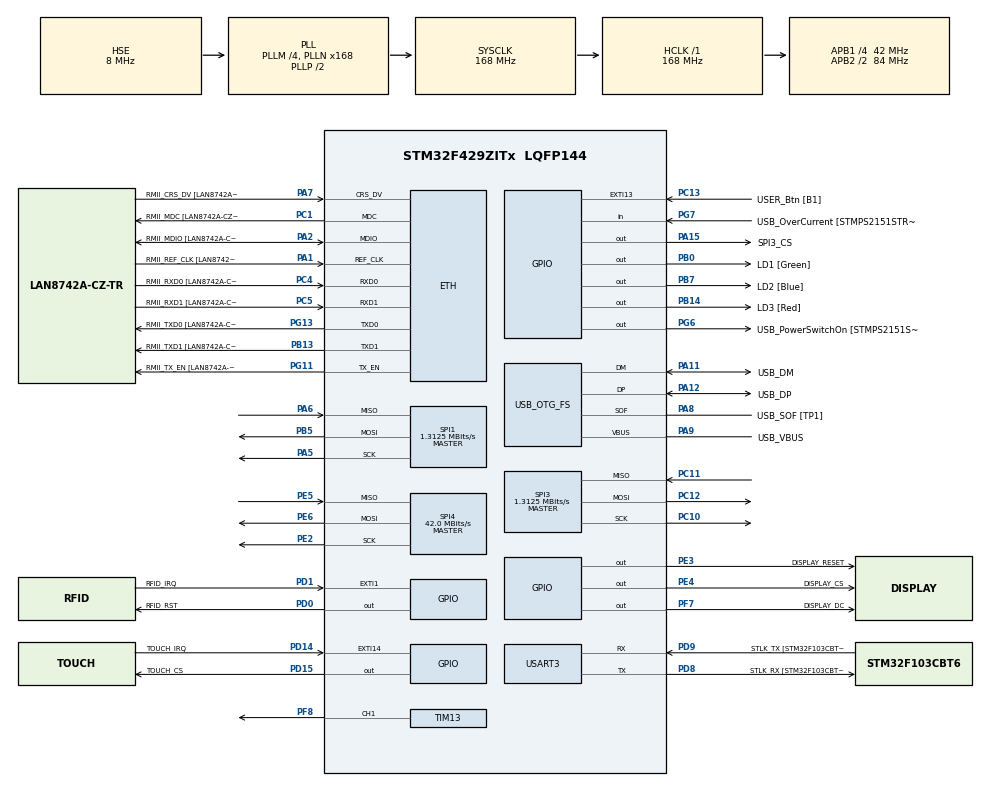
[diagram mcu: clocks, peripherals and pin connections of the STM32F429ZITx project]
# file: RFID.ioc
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DMA2D.ColorMode=DMA2D_OUTPUT_RGB888
Dma.Request0=SPI4_TX
Dma.SPI4_TX.0.Direction=DMA_MEMORY_TO_PERIPH
Dma.SPI4_TX.0.FIFOMode=DMA_FIFOMODE_DISABLE
Dma.SPI4_TX.0.Instance=DMA2_Stream1
Dma.SPI4_TX.0.MemDataAlignment=DMA_MDATAALIGN_BYTE
Dma.SPI4_TX.0.MemInc=DMA_MINC_ENABLE
Dma.SPI4_TX.0.Mode=DMA_NORMAL
Dma.SPI4_TX.0.PeriphDataAlignment=DMA_PDATAALIGN_BYTE
Dma.SPI4_TX.0.PeriphInc=DMA_PINC_DISABLE
Dma.SPI4_TX.0.Priority=DMA_PRIORITY_LOW
ETH.MediaInterface=HAL_ETH_RMII_MODE
ETH.PHY_Name=LAN8742A_PHY_ADDRESS
ETH.PHY_Value=0
ETH.PhyAddress=0
FATFS._MAX_LFN=32
FATFS._USE_FIND=1
FATFS._USE_LFN=2
FREERTOS.Tasks01=defaultTask,0,256,StartDefaultTask,Default,NULL,Static,defaultTaskBuffer,defaultTaskControlBlock
FREERTOS.configTOTAL_HEAP_SIZE=49152
FREERTOS.configUSE_NEWLIB_REENTRANT=1
Mcu.Family=STM32F4
Mcu.Name=STM32F429ZITx
Mcu.Package=LQFP144
NVIC.DMA2_Stream1_IRQn=true\:5\:0\:false\:false\:true\:true\:false\:true\:true
NVIC.EXTI15_10_IRQn=true\:5\:0\:false\:false\:true\:true\:true\:true\:true
NVIC.OTG_FS_IRQn=true\:5\:0\:false\:false\:true\:true\:false\:true\:true
NVIC.PriorityGroup=NVIC_PRIORITYGROUP_4
NVIC.SPI4_IRQn=true\:5\:0\:false\:false\:true\:true\:true\:true\:true
NVIC.TIM6_DAC_IRQn=true\:15\:0\:false\:false\:true\:false\:false\:true\:true
NVIC.TimeBase=TIM6_DAC_IRQn
NVIC.TimeBaseIP=TIM6
PA1.GPIO_Label=RMII_REF_CLK [LAN8742A-CZ-TR_REFCLK0]
PA1.Mode=RMII
PA1.Signal=ETH_REF_CLK
PA10.GPIO_Label=USB_ID
PA10.Signal=USB_OTG_FS_ID
PA11.GPIO_Label=USB_DM
PA11.Mode=Host_Only
PA11.Signal=USB_OTG_FS_DM
PA12.GPIO_Label=USB_DP
PA12.Mode=Host_Only
PA12.Signal=USB_OTG_FS_DP
PA13.GPIO_Label=TMS
PA13.Mode=Serial_Wire
PA13.Signal=SYS_JTMS-SWDIO
PA14.GPIO_Label=TCK
PA14.Mode=Serial_Wire
PA14.Signal=SYS_JTCK-SWCLK
PA15.GPIO_Label=SPI3_CS
PA15.Signal=GPIO_Output
PA2.GPIO_Label=RMII_MDIO [LAN8742A-CZ-TR_MDIO]
PA2.Mode=RMII
PA2.Signal=ETH_MDIO
PA5.Mode=Full_Duplex_Master
PA5.Signal=SPI1_SCK
PA6.Mode=Full_Duplex_Master
PA6.Signal=SPI1_MISO
PA7.GPIO_Label=RMII_CRS_DV [LAN8742A-CZ-TR_CRS_DV]
PA7.Mode=RMII
PA7.Signal=ETH_CRS_DV
PA8.GPIO_Label=USB_SOF [TP1]
PA8.Mode=Activate_SOF_FS
PA8.Signal=USB_OTG_FS_SOF
PA9.GPIO_Label=USB_VBUS
PA9.Mode=Activate_VBUS
PA9.Signal=USB_OTG_FS_VBUS
PB0.GPIO_Label=LD1 [Green]
PB0.Signal=GPIO_Output
PB13.GPIO_Label=RMII_TXD1 [LAN8742A-CZ-TR_TXD1]
PB13.Mode=RMII
PB13.Signal=ETH_TXD1
PB14.GPIO_Label=LD3 [Red]
PB14.Signal=GPIO_Output
PB5.Mode=Full_Duplex_Master
PB5.Signal=SPI1_MOSI
PB7.GPIO_Label=LD2 [Blue]
PB7.Signal=GPIO_Output
PC1.GPIO_Label=RMII_MDC [LAN8742A-CZ-TR_MDC]
PC1.Mode=RMII
PC1.Signal=ETH_MDC
PC10.Mode=Full_Duplex_Master
PC10.Signal=SPI3_SCK
PC11.Mode=Full_Duplex_Master
PC11.Signal=SPI3_MISO
PC12.Mode=Full_Duplex_Master
PC12.Signal=SPI3_MOSI
PC13.GPIO_Label=USER_Btn [B1]
PC13.Signal=GPXTI13
PC14/OSC32_IN.Mode=LSE-External-Oscillator
PC14/OSC32_IN.Signal=RCC_OSC32_IN
PC15/OSC32_OUT.Mode=LSE-External-Oscillator
PC15/OSC32_OUT.Signal=RCC_OSC32_OUT
PC4.GPIO_Label=RMII_RXD0 [LAN8742A-CZ-TR_RXD0]
PC4.Mode=RMII
PC4.Signal=ETH_RXD0
PC5.GPIO_Label=RMII_RXD1 [LAN8742A-CZ-TR_RXD1]
PC5.Mode=RMII
PC5.Signal=ETH_RXD1
PD0.GPIO_Label=RFID_RST
PD0.PinState=GPIO_PIN_SET
PD0.Signal=GPIO_Output
PD1.GPIO_Label=RFID_IRQ
PD1.GPIO_ModeDefaultEXTI=GPIO_MODE_IT_FALLING
PD1.GPIO_PuPd=GPIO_PULLUP
PD1.Signal=GPXTI1
PD14.GPIO_Label=TOUCH_IRQ
PD14.GPIO_ModeDefaultEXTI=GPIO_MODE_IT_FALLING
PD14.Signal=GPXTI14
PD15.GPIO_Label=TOUCH_CS
PD15.PinState=GPIO_PIN_SET
PD15.Signal=GPIO_Output
PD8.GPIO_Label=STLK_RX [STM32F103CBT6_PA3]
PD8.Mode=Asynchronous
PD8.Signal=USART3_TX
PD9.GPIO_Label=STLK_TX [STM32F103CBT6_PA2]
PD9.Mode=Asynchronous
PD9.Signal=USART3_RX
PE2.Mode=Full_Duplex_Master
PE2.Signal=SPI4_SCK
PE3.GPIO_Label=DISPLAY_RESET
PE3.GPIO_Speed=GPIO_SPEED_FREQ_MEDIUM
PE3.PinState=GPIO_PIN_SET
PE3.Signal=GPIO_Output
PE4.GPIO_Label=DISPLAY_CS
PE4.GPIO_Speed=GPIO_SPEED_FREQ_MEDIUM
PE4.PinState=GPIO_PIN_SET
PE4.Signal=GPIO_Output
PE5.Mode=Full_Duplex_Master
PE5.Signal=SPI4_MISO
PE6.Mode=Full_Duplex_Master
PE6.Signal=SPI4_MOSI
PF7.GPIO_Label=DISPLAY_DC
PF7.GPIO_Speed=GPIO_SPEED_FREQ_MEDIUM
PF7.PinState=GPIO_PIN_SET
PF7.Signal=GPIO_Output
PF8.Signal=S_TIM13_CH1
PG11.GPIO_Label=RMII_TX_EN [LAN8742A-CZ-TR_TXEN]
PG11.Mode=RMII
PG11.Signal=ETH_TX_EN
PG13.GPIO_Label=RMII_TXD0 [LAN8742A-CZ-TR_TXD0]
PG13.Mode=RMII
PG13.Signal=ETH_TXD0
PG6.GPIO_Label=USB_PowerSwitchOn [STMPS2151STR_EN]
PG6.Signal=GPIO_Output
PG7.GPIO_Label=USB_OverCurrent [STMPS2151STR_FAULT]
PG7.Signal=GPIO_Input
PH0/OSC_IN.GPIO_Label=MCO [STM32F103CBT6_PA8]
PH0/OSC_IN.Mode=HSE-External-Clock-Source
PH0/OSC_IN.Signal=RCC_OSC_IN
PH1/OSC_OUT.Mode=HSE-External-Clock-Source
PH1/OSC_OUT.Signal=RCC_OSC_OUT
ProjectManager.HeapSize=0x200
ProjectManager.StackSize=0x400
ProjectManager.TargetToolchain=STM32CubeIDE
RCC.48MHZClocksFreq_Value=48000000
RCC.AHBFreq_Value=168000000
RCC.APB1CLKDivider=RCC_HCLK_DIV4
RCC.APB1Freq_Value=42000000
RCC.APB1TimFreq_Value=84000000
RCC.APB2CLKDivider=RCC_HCLK_DIV2
RCC.APB2Freq_Value=84000000
RCC.APB2TimCLKDivider=2
RCC.APB2TimFreq_Value=168000000
RCC.CortexFreq_Value=168000000
RCC.HCLKFreq_Value=168000000
RCC.HSE_VALUE=8000000
RCC.HSI_VALUE=16000000
RCC.PLLM=4
RCC.PLLMUL=RCC_PLL_MUL9
RCC.PLLN=168
RCC.PLLQ=7
RCC.PRESCALERUSB=RCC_USBCLKSOURCE_PLL_DIV1_5
RCC.SYSCLKFreq_VALUE=168000000
RCC.SYSCLKSource=RCC_SYSCLKSOURCE_PLLCLK
RCC.SYSCLKSourceVirtual=RCC_SYSCLKSOURCE_PLLCLK
RCC.USBFreq_Value=48000000
RCC.VCOOutputFreq_Value=336000000
SH.S_TIM13_CH1.0=TIM13_CH1,PWM Generation1 CH1
SPI1.BaudRatePrescaler=SPI_BAUDRATEPRESCALER_64
SPI1.CalculateBaudRate=1.3125 MBits/s
SPI1.Direction=SPI_DIRECTION_2LINES
SPI1.Mode=SPI_MODE_MASTER
SPI1.VirtualType=VM_MASTER
SPI3.BaudRatePrescaler=SPI_BAUDRATEPRESCALER_32
SPI3.CLKPolarity=SPI_POLARITY_LOW
SPI3.CalculateBaudRate=1.3125 MBits/s
SPI3.Direction=SPI_DIRECTION_2LINES
SPI3.Mode=SPI_MODE_MASTER
SPI3.VirtualType=VM_MASTER
SPI4.CalculateBaudRate=42.0 MBits/s
SPI4.Direction=SPI_DIRECTION_2LINES
SPI4.Mode=SPI_MODE_MASTER
SPI4.VirtualType=VM_MASTER
STMicroelectronics.X-CUBE-TOUCHGFX.4.18.0.ApplicationCcGraphicsJjApplication=TouchGFXOoGenerator
STMicroelectronics.X-CUBE-TOUCHGFX.4.18.0.tgfx_block_size=7200
STMicroelectronics.X-CUBE-TOUCHGFX.4.18.0.tgfx_buffering_strategy=Partial
STMicroelectronics.X-CUBE-TOUCHGFX.4.18.0.tgfx_custom_height=480
STMicroelectronics.X-CUBE-TOUCHGFX.4.18.0.tgfx_custom_width=320
STMicroelectronics.X-CUBE-TOUCHGFX.4.18.0.tgfx_hardware_accelerator=dma_2d
STMicroelectronics.X-CUBE-TOUCHGFX.4.18.0.tgfx_pixel_format=RGB888\:24
STMicroelectronics.X-CUBE-TOUCHGFX.4.18.0_IsPackSelfContextualization=true
TIM13.Channel=TIM_CHANNEL_1
TIM13.Period=999
TIM13.Prescaler=167
TIM13.Pulse=750
USART3.VirtualMode=VM_ASYNC
USB_HOST.BSP.number=1
USB_HOST.USBH_DEBUG_LEVEL-MSC_FS=3
USB_HOST.USBH_HandleTypeDef-MSC_FS=hUsbHostFS
USB_HOST.USBH_USE_OS-MSC_FS=0
USB_HOST.VirtualModeFS=Msc
USB_HOST0.BSP.STBoard=false
USB_HOST0.BSP.api=Unknown
USB_HOST0.BSP.i2caddr=0
USB_HOST0.BSP.instance=PG6
USB_HOST0.BSP.ip=GPIO
USB_HOST0.BSP.mode=Output
USB_HOST0.BSP.name=Drive_VBUS_FS
USB_HOST0.BSP.solution=PG6
USB_OTG_FS.VirtualMode=Host_Only
USB_OTG_FS.phy_itface=HCD_PHY_EMBEDDED
VP_CRC_VS_CRC.Mode=CRC_Activate
VP_DMA2D_VS_DMA2D.Mode=DMA2D_Activate
VP_FATFS_VS_USB.Mode=USB
VP_FREERTOS_VS_CMSIS_V1.Mode=CMSIS_V1
VP_STMicroelectronics.X-CUBE-TOUCHGFX_VS_GraphicsJjApplication_4.18.0.Mode=GraphicsJjApplication
VP_SYS_VS_tim6.Mode=TIM6
VP_TIM13_VS_ClockSourceINT.Mode=Enable_Timer
VP_USB_HOST_VS_USB_HOST_MSC_FS.Mode=MSC_FS
board=NUCLEO-F429ZI

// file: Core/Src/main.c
/* USER CODE BEGIN Header */
/**
 ******************************************************************************
 * @file           : main.c
 * @brief          : Main program body
 ******************************************************************************
 * @attention
 *
 * Copyright (c) 2022 STMicroelectronics.
 * All rights reserved.
 *
 * This software is licensed under terms that can be found in the LICENSE file
 * in the root directory of this software component.
 * If no LICENSE file comes with this software, it is provided AS-IS.
 *
 ******************************************************************************
 */
/* USER CODE END Header */
#include "main.h"
#include "cmsis_os.h"
#include "crc.h"
#include "dma.h"
#include "dma2d.h"
#include "eth.h"
#include "fatfs.h"
#include "spi.h"
#include "tim.h"
#include "usart.h"
#include "usb_host.h"
#include "gpio.h"
#include "app_touchgfx.h"

/* USER CODE BEGIN Includes */
#include "../RFID/Inc/rc522_com.h"
#include "../RFID/Inc/card_com.h"
#include "display.h"
#include "touch.h"
#include "calibration.h"

#include "usbh_platform.h"
#include "fatfs.h"
/* USER CODE END Includes */

void SystemClock_Config(void);
void MX_FREERTOS_Init(void);

int main(void)
{

  /* MCU Configuration--------------------------------------------------------*/

  /* Reset of all peripherals, Initializes the Flash interface and the Systick. */
  HAL_Init();

  /* Configure the system clock */
  SystemClock_Config();

  /* Initialize all configured peripherals */
  MX_GPIO_Init();
  MX_ETH_Init();
  MX_USART3_UART_Init();
  MX_DMA_Init();
  MX_SPI3_Init();
  MX_SPI4_Init();
  MX_TIM13_Init();
  MX_FATFS_Init();
  MX_SPI1_Init();
  MX_DMA2D_Init();
  MX_CRC_Init();
  MX_TouchGFX_Init();
  /* USER CODE BEGIN 2 */
	debug_init(&huart3);
	xprintf("Debug initialized!\n");
	MX_DriverVbusFS(0);
	rc522_init();
	display_init();
	HAL_TIM_PWM_Start(&htim13, TIM_CHANNEL_1);
	display_paint_red();
	calibrate_display();
	xprintf("Calibration done!\n");
  /* USER CODE END 2 */

  /* Call init function for freertos objects (in freertos.c) */
  MX_FREERTOS_Init();

  /* Start scheduler */
  osKernelStart();

  /* We should never get here as control is now taken by the scheduler */
  /* Infinite loop */
  /* USER CODE BEGIN WHILE */

//	overwrite to check if works
//	for (uint8_t i = 0; i < 16; ++i){
//		buffer[i]=255;
//	}

	while (1)
	{
//		const uint8_t versionRegisterAddr = 0x32;
//		xprintf("Read from reg 0x%x value 0x%x before writing\r\n ",
//				versionRegisterAddr, rc522_readReg(versionRegisterAddr));
//		rc522_writeReg(versionRegisterAddr, 0xDE);
//		xprintf("Read from reg 0x%x value 0x%x after writing\r\n ",
//				versionRegisterAddr, rc522_readReg(versionRegisterAddr));

		HAL_Delay(1000);
    /* USER CODE END WHILE */

	}
}

void SystemClock_Config(void)
{
  RCC_OscInitTypeDef RCC_OscInitStruct = {0};
  RCC_ClkInitTypeDef RCC_ClkInitStruct = {0};

  /** Configure the main internal regulator output voltage
  */
  __HAL_RCC_PWR_CLK_ENABLE();
  __HAL_PWR_VOLTAGESCALING_CONFIG(PWR_REGULATOR_VOLTAGE_SCALE1);

  /** Initializes the RCC Oscillators according to the specified parameters
  * in the RCC_OscInitTypeDef structure.
  */
  RCC_OscInitStruct.OscillatorType = RCC_OSCILLATORTYPE_HSE;
  RCC_OscInitStruct.HSEState = RCC_HSE_BYPASS;
  RCC_OscInitStruct.PLL.PLLState = RCC_PLL_ON;
  RCC_OscInitStruct.PLL.PLLSource = RCC_PLLSOURCE_HSE;
  RCC_OscInitStruct.PLL.PLLM = 4;
  RCC_OscInitStruct.PLL.PLLN = 168;
  RCC_OscInitStruct.PLL.PLLP = RCC_PLLP_DIV2;
  RCC_OscInitStruct.PLL.PLLQ = 7;
  if (HAL_RCC_OscConfig(&RCC_OscInitStruct) != HAL_OK)
  {
    Error_Handler();
  }

  /** Initializes the CPU, AHB and APB buses clocks
  */
  RCC_ClkInitStruct.ClockType = RCC_CLOCKTYPE_HCLK|RCC_CLOCKTYPE_SYSCLK
                              |RCC_CLOCKTYPE_PCLK1|RCC_CLOCKTYPE_PCLK2;
  RCC_ClkInitStruct.SYSCLKSource = RCC_SYSCLKSOURCE_PLLCLK;
  RCC_ClkInitStruct.AHBCLKDivider = RCC_SYSCLK_DIV1;
  RCC_ClkInitStruct.APB1CLKDivider = RCC_HCLK_DIV4;
  RCC_ClkInitStruct.APB2CLKDivider = RCC_HCLK_DIV2;

  if (HAL_RCC_ClockConfig(&RCC_ClkInitStruct, FLASH_LATENCY_5) != HAL_OK)
  {
    Error_Handler();
  }
}

void HAL_TIM_PeriodElapsedCallback(TIM_HandleTypeDef *htim)
{
  if (htim->Instance == TIM6) {
    HAL_IncTick();
  }
}

void Error_Handler(void)
{
	__disable_irq();
	while (1)
	{
	}
}

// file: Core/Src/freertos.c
/* USER CODE BEGIN Header */
/**
 ******************************************************************************
 * File Name          : freertos.c
 * Description        : Code for freertos applications
 ******************************************************************************
 * @attention
 *
 * Copyright (c) 2022 STMicroelectronics.
 * All rights reserved.
 *
 * This software is licensed under terms that can be found in the LICENSE file
 * in the root directory of this software component.
 * If no LICENSE file comes with this software, it is provided AS-IS.
 *
 ******************************************************************************
 */
/* USER CODE END Header */

#include "FreeRTOS.h"
#include "task.h"
#include "main.h"
#include "cmsis_os.h"

/* USER CODE BEGIN Includes */
#include "../RFID/Inc/rfid_task.h"

#include "usb_host.h"
#include "fatfs.h"

#include "Message.h"
/* USER CODE END Includes */

/* USER CODE BEGIN Variables */
osThreadId gfxTaskHandle;
osThreadId rfidTaskHandle;
extern ApplicationTypeDef Appli_state;

/* USER CODE END Variables */
osThreadId defaultTaskHandle;
uint32_t defaultTaskBuffer[256];
osStaticThreadDef_t defaultTaskControlBlock;

QueueHandle_t toDisplayQueue;
/* USER CODE BEGIN FunctionPrototypes */
void startGfxTask(const void *_)
{
	UNUSED(_);
	MX_TouchGFX_Process();
}

void waitForUsbMsd(void)
{
	xprintf("\nwaiting for USB device...\n");
	do
	{
		vTaskDelay(100);
		HAL_GPIO_TogglePin(LD2_GPIO_Port, LD2_Pin);
	} while (Appli_state != APPLICATION_READY);
	xprintf("USB device ready!\n");
	HAL_GPIO_WritePin(LD2_GPIO_Port, LD2_Pin, GPIO_PIN_RESET);
}

void listdir()
{
	xprintf("Listing files:\n");
	FRESULT res;
	DIR d;
	FILINFO f;
	res = f_findfirst(&d, &f, "0:/", "*");
	xprintf("Opened first!\n");
	while (res == FR_OK && f.fname[0])
	{
		xprintf("Found file: %s\n", f.fname);
		res = f_findnext(&d, &f);
	}
	f_closedir(&d);
}

void dumpFile()
{
	/* USER CODE END 2 */
	/* Infinite loop */
	/* USER CODE BEGIN WHILE */
	FIL f;
	if (f_open(&f, "0:/test.txt", FA_READ) != FR_OK)
		xprintf("Failed to open file!\n");
	int sumDumped = 0;

	char buffer[17];
	buffer[16] = 0;
	unsigned numread = 0;
	while (f_read(&f, buffer, 16, &numread) == FR_OK && numread != 0)
	{
		sumDumped += numread;
		xprintf("Read chunk: %s\n", buffer);
	}
	xprintf("Read %d bytes from file.\n", sumDumped);
	f_close(&f);
}

void touchgfxSignalVSync(void);
/* USER CODE END FunctionPrototypes */

void StartDefaultTask(void const *argument);

extern void MX_USB_HOST_Init(void);
void MX_FREERTOS_Init(void); /* (MISRA C 2004 rule 8.1) */

/* GetIdleTaskMemory prototype (linked to static allocation support) */
void vApplicationGetIdleTaskMemory(StaticTask_t **ppxIdleTaskTCBBuffer,
		StackType_t **ppxIdleTaskStackBuffer, uint32_t *pulIdleTaskStackSize);

/* USER CODE BEGIN GET_IDLE_TASK_MEMORY */
static StaticTask_t xIdleTaskTCBBuffer;
static StackType_t xIdleStack[configMINIMAL_STACK_SIZE];

void vApplicationGetIdleTaskMemory(StaticTask_t **ppxIdleTaskTCBBuffer,
		StackType_t **ppxIdleTaskStackBuffer, uint32_t *pulIdleTaskStackSize)
{
	*ppxIdleTaskTCBBuffer = &xIdleTaskTCBBuffer;
	*ppxIdleTaskStackBuffer = &xIdleStack[0];
	*pulIdleTaskStackSize = configMINIMAL_STACK_SIZE;
	/* place for user code */
}
/* USER CODE END GET_IDLE_TASK_MEMORY */

void MX_FREERTOS_Init(void)
{

	/* USER CODE BEGIN RTOS_QUEUES */
	/* add queues, ... */
	toDisplayQueue = xQueueCreate(2, sizeof(toDisplayMessage));
	if (!toDisplayQueue)
	{
		xprintf("Failed to create queue!\n");
		return;
	}
	/* USER CODE END RTOS_QUEUES */

	/* Create the thread(s) */
	/* definition and creation of defaultTask */
	osThreadStaticDef(defaultTask, StartDefaultTask, osPriorityNormal, 0, 256,
			defaultTaskBuffer, &defaultTaskControlBlock);
	defaultTaskHandle = osThreadCreate(osThread(defaultTask), NULL);

	/* USER CODE BEGIN RTOS_THREADS */
	/* add threads, ... */
	osThreadDef(gfxTask, startGfxTask, osPriorityNormal, 0, 512);
	gfxTaskHandle = osThreadCreate(osThread(gfxTask), NULL);

	osThreadDef(rfidTask, startRfidTask, osPriorityNormal, 0, 1024);
	rfidTaskHandle = osThreadCreate(osThread(rfidTask), NULL);
	/* USER CODE END RTOS_THREADS */

}

void StartDefaultTask(void const *argument)
{
	/* init code for USB_HOST */
	MX_USB_HOST_Init();
	/* USER CODE BEGIN StartDefaultTask */
	MX_DriverVbusFS(1);

	waitForUsbMsd();
	/* Infinite loop */
	xprintf("\nwaiting for USB device...\n");
	for (;;)
	{
		osDelay(100);
		touchgfxSignalVSync();
		//if (Appli_state == APPLICATION_READY)
		//{
		//	//xprintf("USB connected!\n");
//			static uint8_t done = 0;
//			if (!done)
//			{
//				done = 1;
//				listdir();
//				xprintf("Listed files!\n");
//			}

		//}
	}
	/* USER CODE END StartDefaultTask */
}
